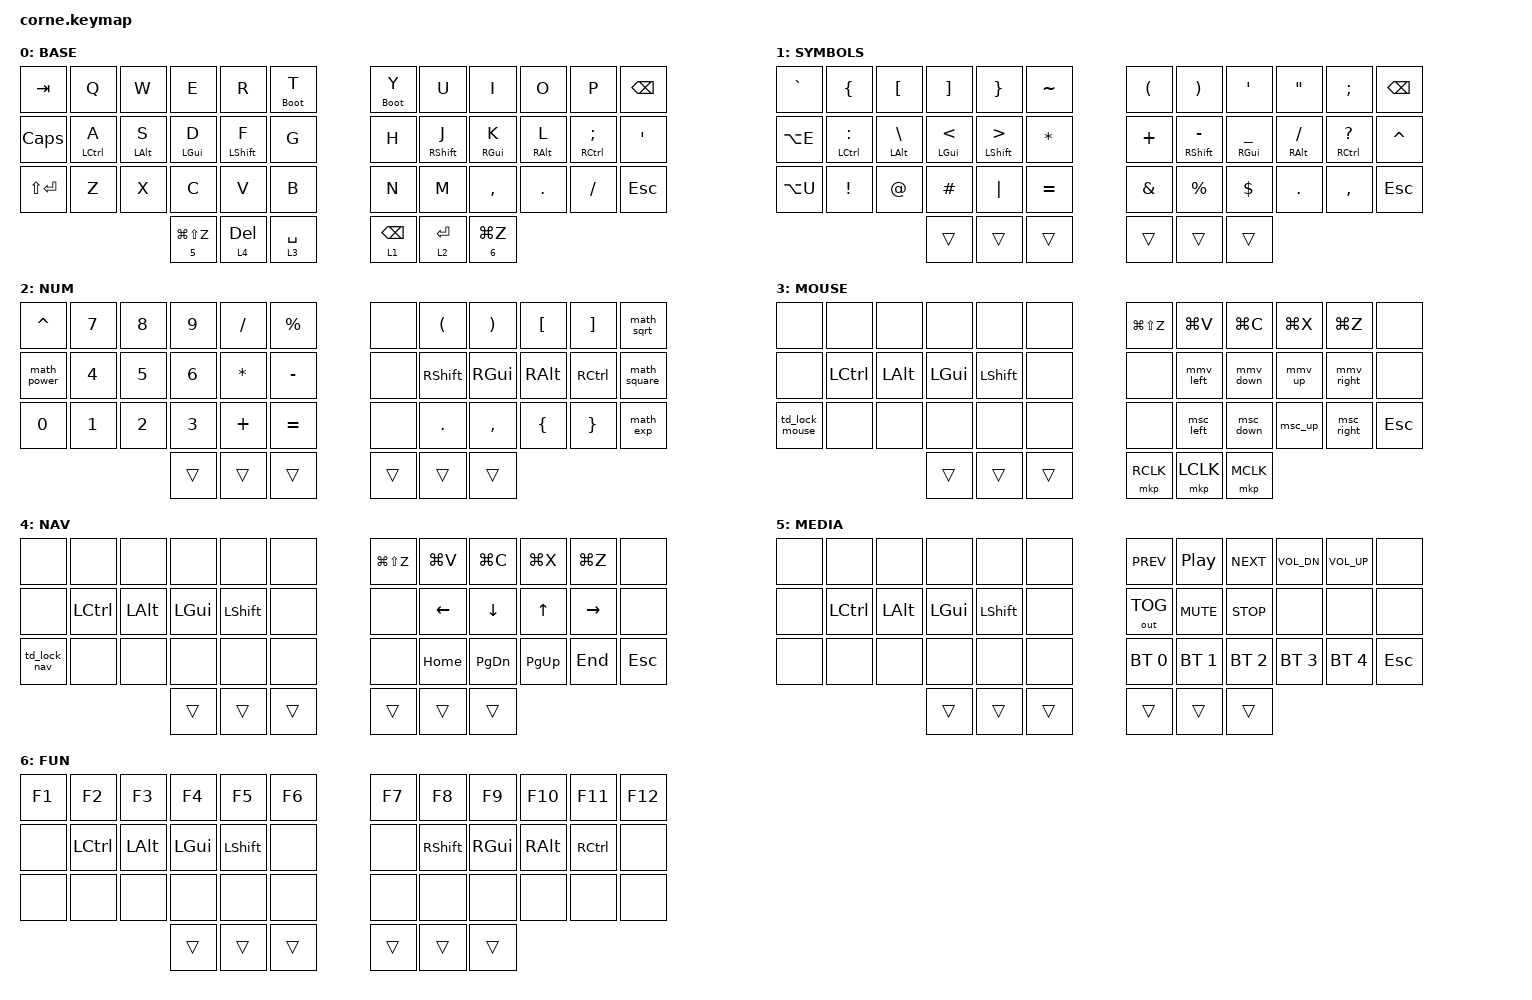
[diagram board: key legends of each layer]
/* Generated by scripts/generate_keymap.py from approved_profile_v16.json.
 * Candidate: not a claim of physical validation. SPDX-License-Identifier: MIT */
#include <behaviors.dtsi>
#include <dt-bindings/zmk/keys.h>
#include <dt-bindings/zmk/bt.h>
#include <dt-bindings/zmk/outputs.h>
#include <dt-bindings/zmk/pointing.h>

/* Keep the standard LT timing. Only its hold delegate is lock-aware. */
&lt { bindings = <&fp_mo>, <&kp>; };

/ {
    behaviors {
        fp_mo: fp_layer_hold { compatible = "fp,behavior-layer-hold"; #binding-cells = <1>; display-name = "FP Layer Hold"; };
        fp_lock: fp_layer_lock { compatible = "fp,behavior-layer-lock"; #binding-cells = <1>; display-name = "FP Layer Lock"; };
        hrm_l: home_row_mods_left {
            compatible = "zmk,behavior-hold-tap";
            #binding-cells = <2>;
            display-name = "HRM Left (GACS)";
            flavor = "balanced";
            tapping-term-ms = <280>;
            quick-tap-ms = <175>;
            require-prior-idle-ms = <150>;
            hold-trigger-key-positions = <6 7 8 9 10 11 18 19 20 21 22 23 30 31 32 33 34 35 39 40 41>;
            hold-trigger-on-release;
            bindings = <&kp>, <&kp>;
        };
        hrm_r: home_row_mods_right {
            compatible = "zmk,behavior-hold-tap";
            #binding-cells = <2>;
            display-name = "HRM Right (GACS)";
            flavor = "balanced";
            tapping-term-ms = <280>;
            quick-tap-ms = <175>;
            require-prior-idle-ms = <150>;
            hold-trigger-key-positions = <0 1 2 3 4 5 12 13 14 15 16 17 24 25 26 27 28 29 36 37 38>;
            hold-trigger-on-release;
            bindings = <&kp>, <&kp>;
        };
        ht_undo_fun: thumb_undo_fun {
            compatible = "zmk,behavior-hold-tap";
            #binding-cells = <2>;
            display-name = "Undo FUN (Dedão 41)";
            flavor = "balanced";
            tapping-term-ms = <200>;
            quick-tap-ms = <175>;
            bindings = <&fp_mo>, <&kp>;
        };
        hrm_sym_l: home_row_mods_symbols_left {
            compatible = "zmk,behavior-hold-tap";
            #binding-cells = <2>;
            display-name = "Símbolo no toque / modificador ao segurar";
            flavor = "balanced";
            tapping-term-ms = <280>;
            quick-tap-ms = <175>;
            require-prior-idle-ms = <150>;
            bindings = <&kp>, <&kp>;
        };
        hrm_sym_r: home_row_mods_symbols_right {
            compatible = "zmk,behavior-hold-tap";
            #binding-cells = <2>;
            display-name = "Símbolo no toque / modificador direito ao segurar";
            flavor = "balanced";
            tapping-term-ms = <280>;
            quick-tap-ms = <175>;
            require-prior-idle-ms = <150>;
            bindings = <&kp>, <&kp>;
        };
        ht_redo_system: thumb_redo_system {
            compatible = "zmk,behavior-hold-tap";
            #binding-cells = <2>;
            display-name = "Refazer MEDIA (Dedão 36)";
            flavor = "balanced";
            tapping-term-ms = <200>;
            quick-tap-ms = <175>;
            bindings = <&fp_mo>, <&kp>;
        };
        ht_boot: hold_tap_bootloader {
            compatible = "zmk,behavior-hold-tap";
            #binding-cells = <2>;
            display-name = "Bootloader 5s (Isolado)";
            flavor = "hold-preferred";
            tapping-term-ms = <5000>;
            hold-trigger-key-positions = <999>;
            bindings = <&bootloader>, <&kp>;
        };
        td_lock_mouse: tap_dance_lock_mouse {
            compatible = "zmk,behavior-tap-dance";
            #binding-cells = <0>;
            display-name = "Lock MOUSE (2 taps)";
            tapping-term-ms = <200>;
            bindings = <&none>, <&fp_lock 3>;
        };
        td_lock_nav: tap_dance_lock_nav {
            compatible = "zmk,behavior-tap-dance";
            #binding-cells = <0>;
            display-name = "Lock NAV (2 taps)";
            tapping-term-ms = <200>;
            bindings = <&none>, <&fp_lock 4>;
        };
    };
    macros {
        math_power: math_power {
            compatible = "zmk,behavior-macro";
            #binding-cells = <0>;
            display-name = "**";
            wait-ms = <10>;
            tap-ms = <10>;
            bindings = <&macro_tap &kp ASTRK &kp ASTRK>;
        };
        math_square: math_square {
            compatible = "zmk,behavior-macro";
            #binding-cells = <0>;
            display-name = "**2";
            wait-ms = <10>;
            tap-ms = <10>;
            bindings = <&macro_tap &kp ASTRK &kp ASTRK &kp N2>;
        };
        math_sqrt: math_sqrt {
            compatible = "zmk,behavior-macro";
            #binding-cells = <0>;
            display-name = "sqrt()";
            wait-ms = <10>;
            tap-ms = <10>;
            bindings = <&macro_tap &kp S &kp Q &kp R &kp T &kp LPAR &kp RPAR &kp LEFT>;
        };
        math_exp: math_exp {
            compatible = "zmk,behavior-macro";
            #binding-cells = <0>;
            display-name = "exp()";
            wait-ms = <10>;
            tap-ms = <10>;
            bindings = <&macro_tap &kp E &kp X &kp P &kp LPAR &kp RPAR &kp LEFT>;
        };
        mmv_left: mmv_left {
            compatible = "zmk,behavior-macro";
            #binding-cells = <0>;
            display-name = "Mouse Left";
            bindings = <&macro_press &mmv MOVE_LEFT>, <&macro_pause_for_release>, <&macro_release &mmv MOVE_LEFT>;
        };
        mmv_down: mmv_down {
            compatible = "zmk,behavior-macro";
            #binding-cells = <0>;
            display-name = "Mouse Down";
            bindings = <&macro_press &mmv MOVE_DOWN>, <&macro_pause_for_release>, <&macro_release &mmv MOVE_DOWN>;
        };
        mmv_up: mmv_up {
            compatible = "zmk,behavior-macro";
            #binding-cells = <0>;
            display-name = "Mouse Up";
            bindings = <&macro_press &mmv MOVE_UP>, <&macro_pause_for_release>, <&macro_release &mmv MOVE_UP>;
        };
        mmv_right: mmv_right {
            compatible = "zmk,behavior-macro";
            #binding-cells = <0>;
            display-name = "Mouse Right";
            bindings = <&macro_press &mmv MOVE_RIGHT>, <&macro_pause_for_release>, <&macro_release &mmv MOVE_RIGHT>;
        };
        msc_left: msc_left {
            compatible = "zmk,behavior-macro";
            #binding-cells = <0>;
            display-name = "Scroll Left";
            bindings = <&macro_press &msc SCRL_LEFT>, <&macro_pause_for_release>, <&macro_release &msc SCRL_LEFT>;
        };
        msc_down: msc_down {
            compatible = "zmk,behavior-macro";
            #binding-cells = <0>;
            display-name = "Scroll Down";
            bindings = <&macro_press &msc SCRL_DOWN>, <&macro_pause_for_release>, <&macro_release &msc SCRL_DOWN>;
        };
        msc_up: msc_up {
            compatible = "zmk,behavior-macro";
            #binding-cells = <0>;
            display-name = "Scroll Up";
            bindings = <&macro_press &msc SCRL_UP>, <&macro_pause_for_release>, <&macro_release &msc SCRL_UP>;
        };
        msc_right: msc_right {
            compatible = "zmk,behavior-macro";
            #binding-cells = <0>;
            display-name = "Scroll Right";
            bindings = <&macro_press &msc SCRL_RIGHT>, <&macro_pause_for_release>, <&macro_release &msc SCRL_RIGHT>;
        };
    };
    keymap {
        compatible = "zmk,keymap";
        base_layer {
            display-name = "BASE";
            bindings = <
                &kp TAB  &kp Q  &kp W  &kp E  &kp R  &ht_boot 0 T  &ht_boot 0 Y  &kp U  &kp I  &kp O  &kp P  &kp BSPC
                &kp CAPS  &hrm_l LCTRL A  &hrm_l LALT S  &hrm_l LGUI D  &hrm_l LSHFT F  &kp G  &kp H  &hrm_r RSHFT J  &hrm_r RGUI K  &hrm_r RALT L  &hrm_r RCTRL SEMI  &kp SQT
                &kp LS(RET)  &kp Z  &kp X  &kp C  &kp V  &kp B  &kp N  &kp M  &kp COMMA  &kp DOT  &kp FSLH  &kp ESC
                &ht_redo_system 5 LG(LS(Z))  &lt 4 DEL  &lt 3 SPACE  &lt 1 BSPC  &lt 2 RET  &ht_undo_fun 6 LG(Z)
            >;
        };
        symbols_layer {
            display-name = "SYMBOLS";
            bindings = <
                &kp GRAVE  &kp LBRC  &kp LBKT  &kp RBKT  &kp RBRC  &kp TILDE  &kp LPAR  &kp RPAR  &kp SQT  &kp DQT  &kp SEMI  &kp BSPC
                &kp LA(E)  &hrm_sym_l LCTRL COLON  &hrm_sym_l LALT BSLH  &hrm_sym_l LGUI LT  &hrm_sym_l LSHFT GT  &kp ASTRK  &kp PLUS  &hrm_sym_r RSHFT MINUS  &hrm_sym_r RGUI UNDER  &hrm_sym_r RALT FSLH  &hrm_sym_r RCTRL QMARK  &kp CARET
                &kp LA(U)  &kp EXCL  &kp AT  &kp HASH  &kp PIPE  &kp EQUAL  &kp AMPS  &kp PRCNT  &kp DLLR  &kp DOT  &kp COMMA  &kp ESC
                &trans  &trans  &trans  &trans  &trans  &trans
            >;
        };
        num_layer {
            display-name = "NUM";
            bindings = <
                &kp CARET  &kp N7  &kp N8  &kp N9  &kp FSLH  &kp PRCNT  &none  &kp LPAR  &kp RPAR  &kp LBKT  &kp RBKT  &math_sqrt
                &math_power  &kp N4  &kp N5  &kp N6  &kp ASTRK  &kp MINUS  &none  &kp RSHFT  &kp RGUI  &kp RALT  &kp RCTRL  &math_square
                &kp N0  &kp N1  &kp N2  &kp N3  &kp PLUS  &kp EQUAL  &none  &kp DOT  &kp COMMA  &kp LBRC  &kp RBRC  &math_exp
                &trans  &trans  &trans  &trans  &trans  &trans
            >;
        };
        mouse_layer {
            display-name = "MOUSE";
            bindings = <
                &none  &none  &none  &none  &none  &none  &kp LG(LS(Z))  &kp LG(V)  &kp LG(C)  &kp LG(X)  &kp LG(Z)  &none
                &none  &kp LCTRL  &kp LALT  &kp LGUI  &kp LSHFT  &none  &none  &mmv_left  &mmv_down  &mmv_up  &mmv_right  &none
                &td_lock_mouse  &none  &none  &none  &none  &none  &none  &msc_left  &msc_down  &msc_up  &msc_right  &kp ESC
                &trans  &trans  &trans  &mkp RCLK  &mkp LCLK  &mkp MCLK
            >;
        };
        nav_layer {
            display-name = "NAV";
            bindings = <
                &none  &none  &none  &none  &none  &none  &kp LG(LS(Z))  &kp LG(V)  &kp LG(C)  &kp LG(X)  &kp LG(Z)  &none
                &none  &kp LCTRL  &kp LALT  &kp LGUI  &kp LSHFT  &none  &none  &kp LEFT  &kp DOWN  &kp UP  &kp RIGHT  &none
                &td_lock_nav  &none  &none  &none  &none  &none  &none  &kp HOME  &kp PG_DN  &kp PG_UP  &kp END  &kp ESC
                &trans  &trans  &trans  &trans  &trans  &trans
            >;
        };
        media_layer {
            display-name = "MEDIA";
            bindings = <
                &none  &none  &none  &none  &none  &none  &kp C_PREV  &kp C_PP  &kp C_NEXT  &kp C_VOL_DN  &kp C_VOL_UP  &none
                &none  &kp LCTRL  &kp LALT  &kp LGUI  &kp LSHFT  &none  &out OUT_TOG  &kp C_MUTE  &kp C_STOP  &none  &none  &none
                &none  &none  &none  &none  &none  &none  &bt BT_SEL 0  &bt BT_SEL 1  &bt BT_SEL 2  &bt BT_SEL 3  &bt BT_SEL 4  &kp ESC
                &trans  &trans  &trans  &trans  &trans  &trans
            >;
        };
        fun_layer {
            display-name = "FUN";
            bindings = <
                &kp F1  &kp F2  &kp F3  &kp F4  &kp F5  &kp F6  &kp F7  &kp F8  &kp F9  &kp F10  &kp F11  &kp F12
                &none  &kp LCTRL  &kp LALT  &kp LGUI  &kp LSHFT  &none  &none  &kp RSHFT  &kp RGUI  &kp RALT  &kp RCTRL  &none
                &none  &none  &none  &none  &none  &none  &none  &none  &none  &none  &none  &none
                &trans  &trans  &trans  &trans  &trans  &trans
            >;
        };
    };
};
